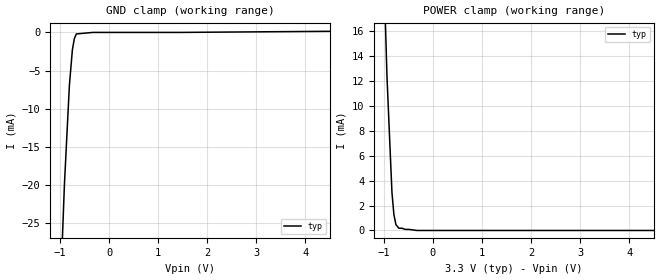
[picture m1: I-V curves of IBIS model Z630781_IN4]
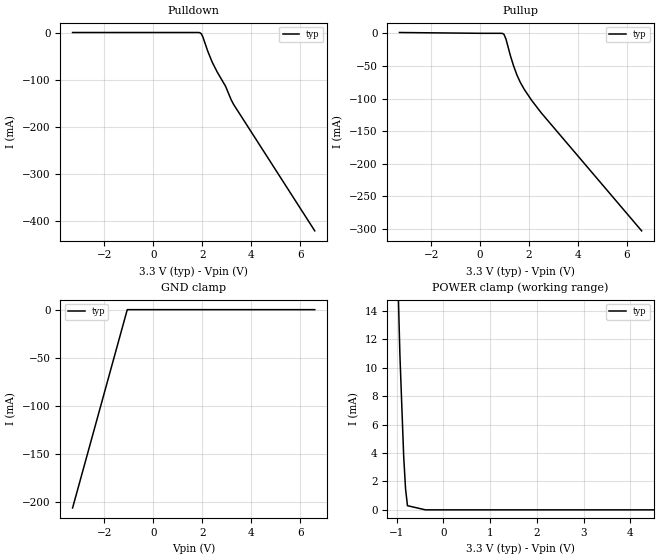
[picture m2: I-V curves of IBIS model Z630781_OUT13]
| YOU ARE ONLY AUTHORIZED TO USE THIS SOFTWARE
| ACCORDING TO LICENSOR'S LICENSE RESTRICTIONS.
[IBIS Ver] 3.1
[File Name] mc100ep51dt_33.ibs
[File Rev] 1
[Source] Derived from mc10ep16 and mc100ep14dt_33.ibs
|   Measured and created by ICX Technology
[Date] 2/20/2004
[Copyright]
| (C) COPYRIGHT 1993-2000
| MENTOR GRAPHICS CORPORATION
| ICX STANDARD LIBRARY, ICX PROJECT MODELING,
| ICX CUSTOM MODELING, ICX VENDOR MODEL
| ALL RIGHTS RESERVED.
| THE FOLLOWING ARE TRADEMARKS OR SERVICE MARKS OF
| MENTOR GRAPHICS CORPORATION:ICX (R), ICX STANDARD
| LIBRARY(R), ICX PROJECT MODELING(R), ICX CUSTOM
| MODELING(R), qualityIBIS(TM), MODELVIEWER(TM),
| AND MODELEDITOR(TM)
| ALL COPIES OF SOFTWARE, INCLUDING BUT NOT LIMITED TO
| ANY MODIFICATIONS, ENHANCEMENTS OR DERIVATIVE WORKS,
| MUST CONTAIN ALL MENTOR GRAPHICS CORPORATION'S
| NOTICES AND LEGENDS, INCLUDING THOSE EMBEDDED IN
| SOFTWARE AND THOSE AFFIXED TO SOFTWARE MEDIUM
| AND CONTAINER, AS RECEIVED FROM MENTOR GRAPHICS
| CORPORATION.
|  ZAP Model Builder 2.7
[Component] MC100EP51DT_33
[Manufacturer] OnSemiconductor
[Package]
| variable   typ   min   max
R_pkg  .044ohms NA NA
L_pkg  1.82nH NA NA
C_pkg  .083pF NA NA
[Pin] signal_name  model_name  R_pin  L_pin C_pin
1 RESET Z630781_IN4 .044 1.802n .083p
2 D Z630781_IN4 .044 1.802n .083p
3 CLK Z630781_IN4 .044 1.802n .083p
4 _CLK Z630781_IN4 .044 1.802n .083p
5 VEE POWER .044 1.802n .083p
6 _Q Z630781_OUT13 .044 1.802n .083p
7 Q Z630781_OUT13 .044 1.802n .083p
8 VCC POWER .044 1.802n .083p
[Diff Pin] inv_pin vdiff tdelay_typ tdelay_min tdelay_max
| Models and submodels in the file (2): Z630781_IN4 (Input_ECL), Z630781_OUT13 (Output_ECL)
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| (C) COPYRIGHT 1993-2000
| MENTOR GRAPHICS CORPORATION
| ICX STANDARD LIBRARY, ICX PROJECT MODELING,
| ICX CUSTOM MODELING, ICX VENDOR MODEL
| ALL RIGHTS RESERVED.
| THE FOLLOWING ARE TRADEMARKS OR SERVICE MARKS OF
| MENTOR GRAPHICS CORPORATION:ICX (R), ICX STANDARD
| LIBRARY(R), ICX PROJECT MODELING(R), ICX CUSTOM
| MODELING(R), qualityIBIS(TM), MODELVIEWER(TM),
| AND MODELEDITOR(TM)
| ALL COPIES OF SOFTWARE, INCLUDING BUT NOT LIMITED TO
| ANY MODIFICATIONS, ENHANCEMENTS OR DERIVATIVE WORKS,
| MUST CONTAIN ALL MENTOR GRAPHICS CORPORATION'S
| NOTICES AND LEGENDS, INCLUDING THOSE EMBEDDED IN
| SOFTWARE AND THOSE AFFIXED TO SOFTWARE MEDIUM
| AND CONTAINER, AS RECEIVED FROM MENTOR GRAPHICS
| CORPORATION.
| Model Application Version 1.89 2/18/99.
[Model] Z630781_IN4
Model_type Input_ECL
Vinl = 1.657V
Vinh = 2.277V
C_comp 2.000pF NA NA
| variable typ   min   max
[Voltage Range] 3.300V NA NA
[GND Clamp Reference] 0.000V NA NA
[POWER Clamp Reference] 3.300V NA NA
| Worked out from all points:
|   GND clamp passes 1 mA (typ) near -0.71 V on its own axis
|   POWER clamp passes 1 mA (typ) near -0.78 V on its own axis
[GND Clamp]
-3.3V     -513mA     NA         NA
-1.054V   -44.4mA    NA         NA
-912mV    -20mA      NA         NA
-811mV    -7mA       NA         NA
-750mV    -2.3mA     NA         NA
-709mV    -800uA     NA         NA
-669mV    -200uA     NA         NA
-334.5mV  0A         NA         NA
1.449V    0A         NA         NA
6.6V      250.3uA    NA         NA
[POWER Clamp]
-3.3V     400.2mA    NA         NA
-1.038V   26.06mA    NA         NA
-936mV    12.36mA    NA         NA
-835mV    3.069mA    NA         NA
-795mV    1.271mA    NA         NA
-754mV    473.4uA    NA         NA
-693mV    179.3uA    NA         NA
-632mV    179.3uA    NA         NA
-561mV    86.25uA    NA         NA
-490mV    86.25uA    NA         NA
-326.7mV  0A         NA         NA
6.6V      0A         NA         NA
| (C) COPYRIGHT 1993-2000
| MENTOR GRAPHICS CORPORATION
| ICX STANDARD LIBRARY, ICX PROJECT MODELING,
| ICX CUSTOM MODELING, ICX VENDOR MODEL
| ALL RIGHTS RESERVED.
| THE FOLLOWING ARE TRADEMARKS OR SERVICE MARKS OF
| MENTOR GRAPHICS CORPORATION:ICX (R), ICX STANDARD
| LIBRARY(R), ICX PROJECT MODELING(R), ICX CUSTOM
| MODELING(R), qualityIBIS(TM), MODELVIEWER(TM),
| AND MODELEDITOR(TM)
| ALL COPIES OF SOFTWARE, INCLUDING BUT NOT LIMITED TO
| ANY MODIFICATIONS, ENHANCEMENTS OR DERIVATIVE WORKS,
| MUST CONTAIN ALL MENTOR GRAPHICS CORPORATION'S
| NOTICES AND LEGENDS, INCLUDING THOSE EMBEDDED IN
| SOFTWARE AND THOSE AFFIXED TO SOFTWARE MEDIUM
| AND CONTAINER, AS RECEIVED FROM MENTOR GRAPHICS
| CORPORATION.
| Model Application Version 1.89 2/18/99.
[Model] Z630781_OUT13
Model_type Output_ECL
Vref=1.300V
Rref=50.00ohms
Cref=0.000F
Vmeas=1.850V
C_comp 2.000pF NA NA
| variable typ   min   max
[Voltage Range] 3.300V NA NA
[POWER Clamp Reference] 3.300V NA NA
[Pullup Reference] 3.300V NA NA
[Pulldown Reference] 3.300V NA NA
[GND Clamp Reference] 0.000V NA NA
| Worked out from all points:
|   POWER clamp passes 1 mA (typ) near -0.79 V on its own axis
[GND Clamp]
-3.3V     -205.9mA   NA         NA
-1.064V   0A         NA         NA
6.6V      0A         NA         NA
[Pulldown]
-3.3V     0A         NA         NA
1.82V     0A         NA         NA
1.962V    -2.7mA     NA         NA
2.023V    -8.9mA     NA         NA
2.226V    -39.7mA    NA         NA
2.408V    -63mA      NA         NA
2.611V    -83.8mA    NA         NA
2.956V    -114.5mA   NA         NA
3.178V    -142.4mA   NA         NA
3.28V     -152.6mA   NA         NA
6.6V      -421.5mA   NA         NA
[Pullup]
-3.3V     1.255mA    NA         NA
853mV     0A         NA         NA
974mV     -1.6mA     NA         NA
1.055V    -8.9mA     NA         NA
1.237V    -34.4mA    NA         NA
1.359V    -49.2mA    NA         NA
1.501V    -63.8mA    NA         NA
1.643V    -75.4mA    NA         NA
1.805V    -86.1mA    NA         NA
2.109V    -103mA     NA         NA
2.494V    -121.8mA   NA         NA
6.6V      -302.8mA   NA         NA
[POWER Clamp]
-3.3V     358.9mA    NA         NA
-1.073V   28.48mA    NA         NA
-931mV    10.93mA    NA         NA
-850mV    3.762mA    NA         NA
-810mV    1.477mA    NA         NA
-769mV    292.5uA    NA         NA
-384.5mV  0A         NA         NA
6.6V      0A         NA         NA
[Ramp]
| variable typ min max
dV/dt_r 451.4m/129.4p NA NA
dV/dt_f 451.4m/106.4p NA NA
R_load = 50.00Ohms
